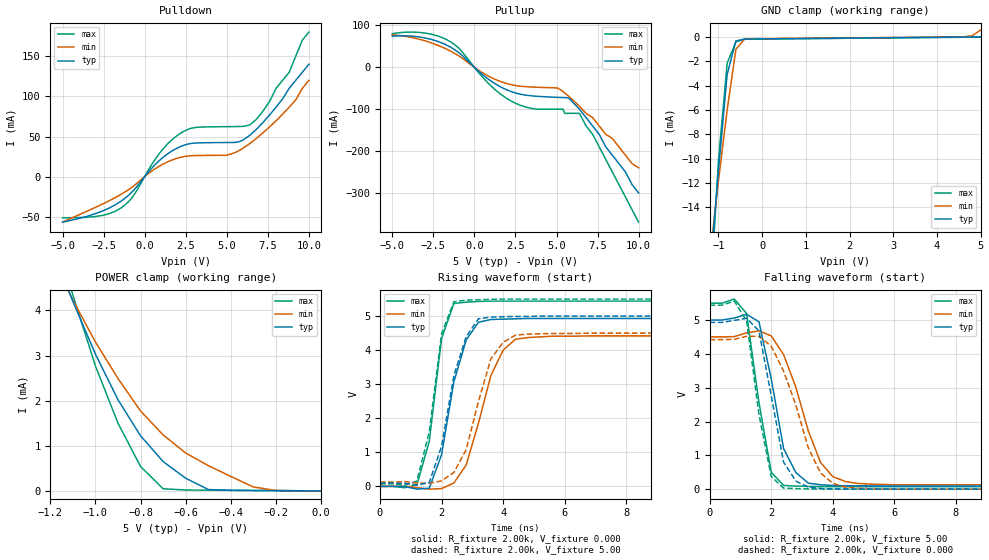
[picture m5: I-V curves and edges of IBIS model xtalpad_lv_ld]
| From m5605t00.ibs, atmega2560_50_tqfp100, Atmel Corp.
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|   Model xtalpad_lv_ld
[Model]   xtalpad_lv_ld
Model_type   I/O
Polarity   Non-Inverting
Enable   Active-High
Vinl =   0.99V
Vinh =   2.31V
Vmeas =   1.65V
Cref =  50.00pF
C_comp   4.36pF   4.36pF   5.33pF
[Temperature Range]   27.00   0.12k   -55.00
[Voltage Range]   5.00V   4.50V   5.50V
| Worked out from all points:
|   slope of the pulldown table from 0 to 0.75 V, typ, clamps not added: 43.7 ohm
|   slope of the pullup table from 0 to 0.75 V, typ, clamps not added: 29.6 ohm
|   GND clamp passes 1 mA (typ) near -0.65 V on its own axis
|   POWER clamp passes 1 mA (typ) near -0.76 V on its own axis
|   rising waveform, R_fixture 2.00k, V_fixture 0.000: 20-80 % time 674ps typ, 870ps min, 477ps max; typ from 0 V to 4.93 V
|   rising waveform, R_fixture 2.00k, V_fixture 5.00: 20-80 % time 706ps typ, 809ps min, 514ps max; typ from 0.095 V to 5 V
|   falling waveform, R_fixture 2.00k, V_fixture 5.00: 20-80 % time 649ps typ, 963ps min, 554ps max; typ from 5 V to 0.095 V
|   falling waveform, R_fixture 2.00k, V_fixture 0.000: 20-80 % time 609ps typ, 1.01ns min, 554ps max; typ from 4.93 V to 0 V
[Pulldown]
| voltage   I(typ)   I(min)   I(max)
-5V       -56.6mA    -56.6mA    -51.2mA
-2.6V     -42.97mA   -34.27mA   -48.3mA
-1.4V     -29.92mA   -21.49mA   -38.39mA
-700mV    -17.49mA   -11.95mA   -24.03mA
1.1V      23.76mA    15.51mA    34.08mA
2.5V      39.89mA    25.38mA    57.71mA
5V        42.57mA    26.68mA    62.31mA
6.4V      51.53mA    41.26mA    64.37mA
7.2V      67.44mA    54.52mA    81.56mA
8.8V      110mA      86.51mA    130mA
9.6V      130mA      110mA      170mA
10V       140mA      120mA      180mA
[Pullup]
| voltage   I(typ)   I(min)   I(max)
-5V       74.34mA    77.82mA    80.6mA
-3.4V     72.87mA    67.63mA    83.6mA
-1.8V     55.2mA     45.42mA    68.47mA
-900mV    33.69mA    26.09mA    43.83mA
800mV     -26.85mA   -19.87mA   -36.22mA
2.2V      -57.32mA   -40.98mA   -79.65mA
3.5V      -68.2mA    -47.05mA   -98.2mA
5.1V      -71.72mA   -50.03mA   -100mA
5.7V      -73.19mA   -67.8mA    -110mA
6.4V      -100mA     -93.09mA   -110mA
7.2V      -140mA     -120mA     -160mA
10V       -300mA     -240mA     -370mA
[GND_clamp]
| voltage   I(typ)   I(min)   I(max)
-5V       -220mA     -170mA     -290mA
-1.2V     -19.68mA   -18.23mA   -22.48mA
-1V       -10.98mA   -11.83mA   -10.16mA
-800mV    -3.07mA    -5.99mA    -2.15mA
-600mV    -330uA     -1.02mA    -410uA
-400mV    -180uA     -170uA     -190uA
4.6V      -12.94uA   3.41uA     -29.46uA
4.8V      -6.47uA    87.4uA     -22.91uA
5V        56.83pA    560uA      -16.36uA
[POWER_clamp]
| voltage   I(typ)   I(min)   I(max)
-5V       81.86mA    67.08mA    100mA
-1.2V     5.52mA     5.24mA     6.15mA
-1.1V     4.2mA      4.23mA     4.34mA
-1V       3.03mA     3.3mA      2.77mA
-900mV    2.02mA     2.49mA     1.5mA
-800mV    1.22mA     1.77mA     540uA
-700mV    650uA      1.24mA     47.72uA
-600mV    280uA      840uA      20.34uA
-500mV    30.71uA    560uA      16.38uA
-300mV    9.71uA     87.4uA     9.82uA
-200mV    6.47uA     10.59uA    6.55uA
0V        56.83pA    2.16nA     22.2pA
[Ramp]
| variable   typ   min   max
dV/dt_r   2.96/0.56n   2.65/0.79n   3.27/0.41n
dV/dt_f   2.94/0.59n   2.62/0.87n   3.26/0.38n
R_load = 2.00k
[Rising Waveform]
R_fixture = 2.00k
V_fixture = 0.000
V_fixture_min = 0.000
V_fixture_max = 0.000
| time   V(typ)   V(min)   V(max)
0s        0V         710nV      0V
1.2ns     -79.16mV   -36.8mV    43.87mV
1.6ns     -55.15mV   -81.15mV   1.32V
2ns       930mV      -64.6mV    4.34V
2.4ns     3.07V      100mV      5.37V
2.8ns     4.3V       630mV      5.41V
3.2ns     4.82V      1.86V      5.43V
3.6ns     4.9V       3.25V      5.44V
4.4ns     4.92V      4.32V      5.44V
20ns      4.93V      4.42V      5.44V
[Rising Waveform]
R_fixture = 2.00k
V_fixture = 5.00
V_fixture_min = 4.50
V_fixture_max = 5.50
| time   V(typ)   V(min)   V(max)
0s        95.37mV    130mV      72.77mV
1.2ns     40.58mV    100mV      160mV
1.6ns     110mV      89.59mV    1.6V
2ns       1.18V      160mV      4.48V
2.4ns     3.25V      410mV      5.42V
2.8ns     4.4V       1.08V      5.47V
3.2ns     4.92V      2.5V       5.48V
3.6ns     4.97V      3.74V      5.49V
4.4ns     4.99V      4.44V      5.5V
20ns      5V         4.5V       5.5V
[Falling Waveform]
R_fixture = 2.00k
V_fixture = 5.00
V_fixture_min = 4.50
V_fixture_max = 5.50
| time   V(typ)   V(min)   V(max)
0s        5V         4.5V       5.5V
800ps     5.06V      4.51V      5.62V
1.2ns     5.17V      4.62V      5.19V
1.6ns     4.95V      4.68V      2.56V
2ns       3.26V      4.53V      500mV
2.4ns     1.2V       3.98V      110mV
2.8ns     490mV      3.01V      91.15mV
3.6ns     130mV      790mV      76.97mV
4.4ns     100mV      230mV      73.88mV
20ns      95.37mV    130mV      72.77mV
[Falling Waveform]
R_fixture = 2.00k
V_fixture = 0.000
V_fixture_min = 0.000
V_fixture_max = 0.000
| time   V(typ)   V(min)   V(max)
0s        4.93V      4.42V      5.44V
800ps     4.99V      4.43V      5.56V
1.2ns     5.05V      4.52V      4.97V
1.6ns     4.68V      4.52V      2.21V
2ns       2.76V      4.23V      370mV
2.4ns     800mV      3.49V      32.82mV
2.8ns     240mV      2.48V      16.61mV
3.6ns     21.81mV    480mV      3.83mV
4.4ns     4.68mV     65.32mV    990uV
20ns      780nV      1.07uV     3.72uV
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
